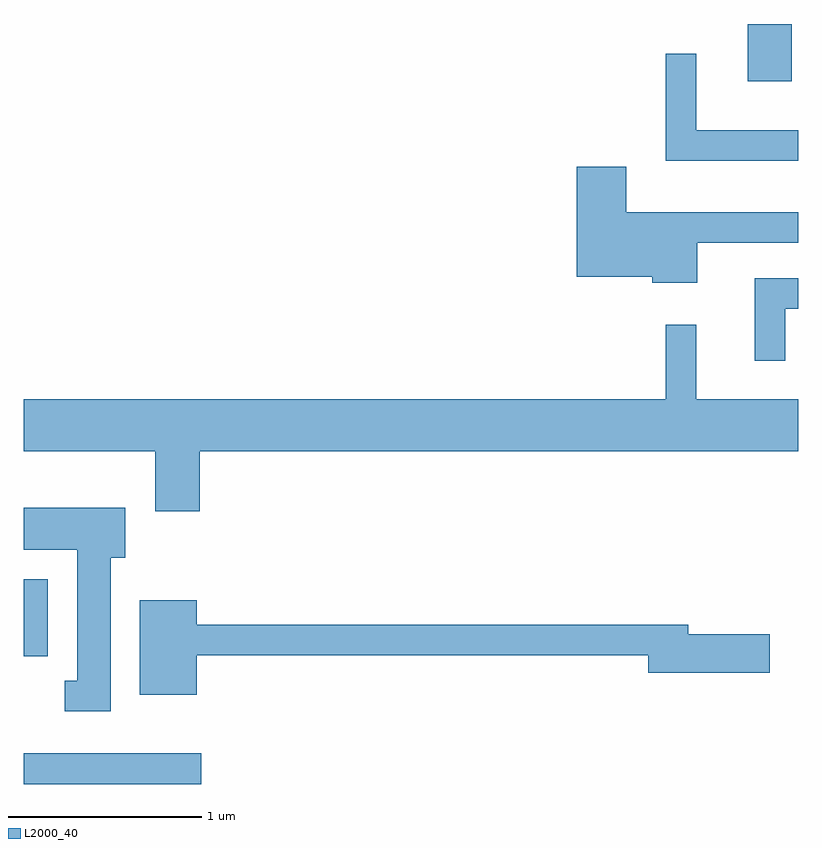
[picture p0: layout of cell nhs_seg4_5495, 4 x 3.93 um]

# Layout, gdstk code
import gdstk
lib = gdstk.Library(unit=1e-6, precision=1e-09)
def R(c, l, rs):  # rectangles x0, y0, x1, y1
    for r in rs: c.add(gdstk.rectangle(r[:2], r[2:], *l))
def P(c, l, *ps):  # polygons
    for p in ps: c.add(gdstk.Polygon(p, *l))
L2000_40 = (2000, 40)

nhs_seg4_5495 = lib.new_cell('nhs_seg4_5495')
R(nhs_seg4_5495, L2000_40, [(345.611,1364.056,346.528,1364.214), (345.611,1364.716,345.734,1365.114), (349.351,1367.686,349.579,1367.982)])
P(nhs_seg4_5495, L2000_40, [(349.611,1367.434),(349.084,1367.434),(349.084,1367.828),(348.926,1367.828),(348.926,1367.276),(349.611,1367.276)],
  [(349.089,1366.851),(349.611,1366.851),(349.611,1367.009),(348.724,1367.009),(348.724,1367.244),(348.466,1367.244),(348.466,1366.676),(348.856,1366.676),(348.856,1366.646),(349.089,1366.646)],
  [(349.544,1366.511),(349.611,1366.511),(349.611,1366.669),(349.386,1366.669),(349.386,1366.243),(349.544,1366.243)],
  [(346.519,1365.776),(349.611,1365.776),(349.611,1366.044),(349.084,1366.044),(349.084,1366.428),(348.926,1366.428),(348.926,1366.044),(345.611,1366.044),(345.611,1365.776),(346.291,1365.776),(346.291,1365.466),(346.519,1365.466)],
  [(346.059,1365.226),(346.134,1365.226),(346.134,1365.484),(345.611,1365.484),(345.611,1365.266),(345.886,1365.266),(345.886,1364.589),(345.823,1364.589),(345.823,1364.431),(346.059,1364.431)],
  [(346.504,1364.721),(348.836,1364.721),(348.836,1364.631),(349.464,1364.631),(349.464,1364.829),(349.044,1364.829),(349.044,1364.879),(346.504,1364.879),(346.504,1365.004),(346.211,1365.004),(346.211,1364.516),(346.504,1364.516)])

lib.write_gds('nhs_seg4_5495.gds')
